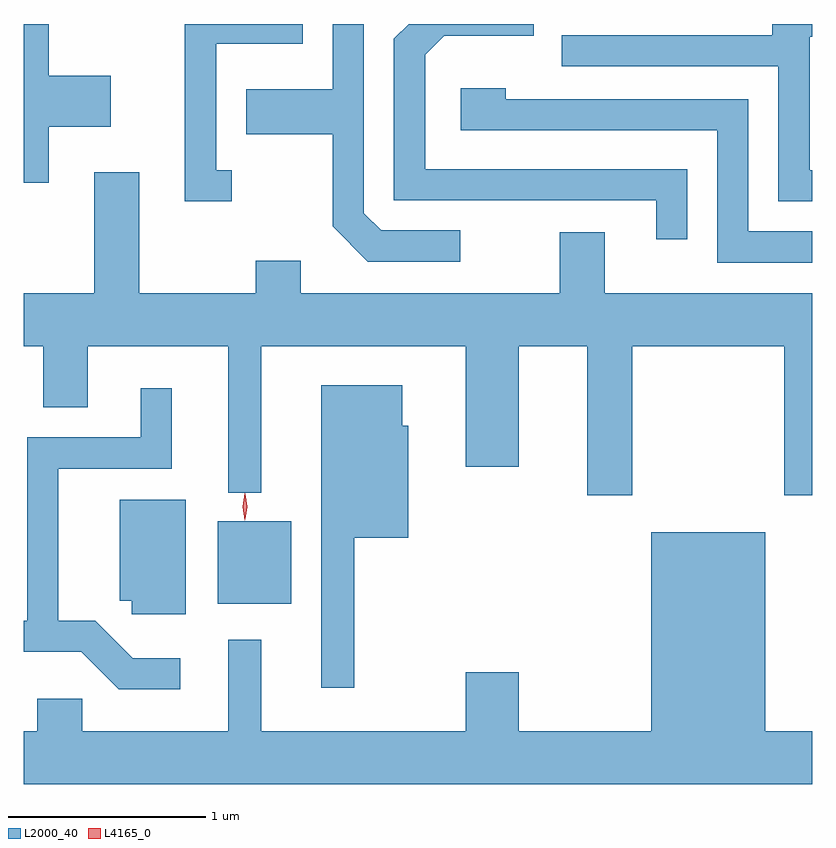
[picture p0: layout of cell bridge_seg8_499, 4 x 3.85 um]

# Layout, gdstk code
import gdstk
lib = gdstk.Library(unit=1e-6, precision=1e-09)
def R(c, l, rs):  # rectangles x0, y0, x1, y1
    for r in rs: c.add(gdstk.rectangle(r[:2], r[2:], *l))
def P(c, l, *ps):  # polygons
    for p in ps: c.add(gdstk.Polygon(p, *l))
L2000_40 = (2000, 40)
L4165_0 = (4165, 0)

bridge_seg8_499 = lib.new_cell('bridge_seg8_499')
R(bridge_seg8_499, L2000_40, [(333.696,1881.731,334.069,1882.149)])
P(bridge_seg8_499, L2000_40, [(333.768,1883.929),(333.689,1883.929),(333.689,1884.571),(334.129,1884.571),(334.129,1884.671),(333.531,1884.671),(333.531,1883.771),(333.768,1883.771)],
  [(334.928,1883.624),(334.527,1883.624),(334.439,1883.712),(334.439,1884.671),(334.281,1884.671),(334.281,1884.339),(333.841,1884.339),(333.841,1884.111),(334.281,1884.111),(334.281,1883.644),(334.459,1883.466),(334.928,1883.466)],
  [(336.713,1883.929),(336.699,1883.929),(336.699,1884.606),(336.713,1884.606),(336.713,1884.671),(336.511,1884.671),(336.511,1884.614),(335.443,1884.614),(335.443,1884.456),(336.541,1884.456),(336.541,1883.771),(336.713,1883.771)],
  [(336.079,1883.934),(334.749,1883.934),(334.749,1884.514),(334.847,1884.611),(335.299,1884.611),(335.299,1884.671),(334.665,1884.671),(334.591,1884.597),(334.591,1883.776),(335.921,1883.776),(335.921,1883.578),(336.079,1883.578)],
  [(332.839,1884.151),(333.154,1884.151),(333.154,1884.409),(332.839,1884.409),(332.839,1884.671),(332.713,1884.671),(332.713,1883.866),(332.839,1883.866)],
  [(336.713,1883.619),(336.389,1883.619),(336.389,1884.289),(335.159,1884.289),(335.159,1884.344),(334.931,1884.344),(334.931,1884.131),(336.231,1884.131),(336.231,1883.461),(336.713,1883.461)],
  [(332.713,1883.036),(332.811,1883.036),(332.811,1882.726),(333.039,1882.726),(333.039,1883.036),(333.751,1883.036),(333.751,1882.293),(333.919,1882.293),(333.919,1883.036),(334.956,1883.036),(334.956,1882.426),(335.224,1882.426),(335.224,1883.036),(335.571,1883.036),(335.571,1882.281),(335.799,1882.281),(335.799,1883.036),(336.571,1883.036),(336.571,1882.281),(336.713,1882.281),(336.713,1883.304),(335.659,1883.304),(335.659,1883.614),(335.431,1883.614),(335.431,1883.304),(334.119,1883.304),(334.119,1883.469),(333.891,1883.469),(333.891,1883.304),(333.299,1883.304),(333.299,1883.919),(333.071,1883.919),(333.071,1883.304),(332.713,1883.304)],
  [(334.389,1882.066),(334.664,1882.066),(334.664,1882.634),(334.634,1882.634),(334.634,1882.839),(334.221,1882.839),(334.221,1881.303),(334.389,1881.303)],
  [(333.508,1881.454),(333.267,1881.454),(333.077,1881.644),(332.889,1881.644),(332.889,1882.416),(333.464,1882.416),(333.464,1882.823),(333.306,1882.823),(333.306,1882.574),(332.731,1882.574),(332.731,1881.644),(332.713,1881.644),(332.713,1881.486),(333.004,1881.486),(333.194,1881.296),(333.508,1881.296)],
  [(333.534,1882.259),(333.201,1882.259),(333.201,1881.746),(333.261,1881.746),(333.261,1881.676),(333.534,1881.676)],
  [(332.781,1881.249),(332.781,1881.084),(332.713,1881.084),(332.713,1880.816),(336.713,1880.816),(336.713,1881.084),(336.474,1881.084),(336.474,1882.094),(335.896,1882.094),(335.896,1881.084),(335.224,1881.084),(335.224,1881.384),(334.956,1881.384),(334.956,1881.084),(333.919,1881.084),(333.919,1881.548),(333.751,1881.548),(333.751,1881.084),(333.009,1881.084),(333.009,1881.249)])
P(bridge_seg8_499, L4165_0, [(333.834,1882.154),(333.834,1882.154),(333.824,1882.222),(333.834,1882.29),(333.834,1882.29),(333.835,1882.29),(333.844,1882.222),(333.835,1882.154)],
  [(333.836,1882.158),(333.836,1882.158),(333.826,1882.222),(333.834,1882.287),(333.835,1882.287),(333.836,1882.287),(333.846,1882.223),(333.836,1882.158)])

lib.write_gds('bridge_seg8_499.gds')
